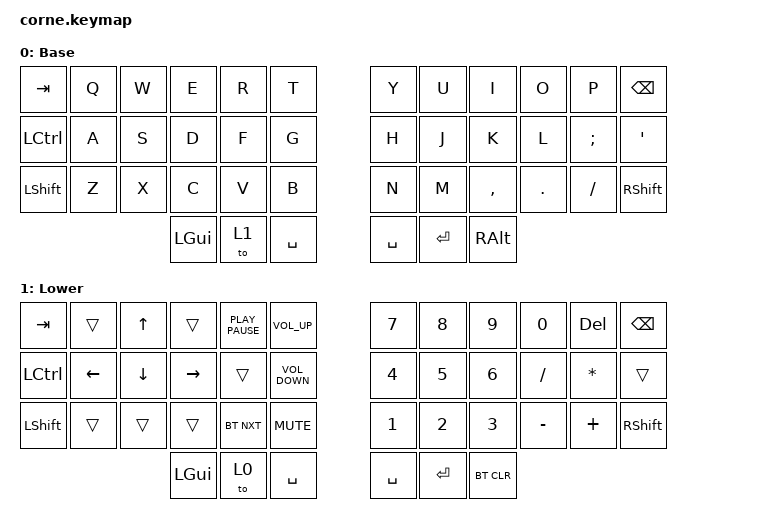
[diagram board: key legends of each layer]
/*
 * Copyright (c) 2020 The ZMK Contributors
 *
 * SPDX-License-Identifier: MIT
 */

#include <behaviors.dtsi>
#include <dt-bindings/zmk/bt.h>
#include <dt-bindings/zmk/keys.h>

/ {
    keymap {
        compatible = "zmk,keymap";

        Base {
            // -----------------------------------------------------------------------------------------
            // |  TAB |  Q  |  W  |  E  |  R  |  T  |   |  Y  |  U   |  I  |  O  |  P  | BKSP |
            // | CTRL |  A  |  S  |  D  |  F  |  G  |   |  H  |  J   |  K  |  L  |  ;  |  '   |
            // | SHFT |  Z  |  X  |  C  |  V  |  B  |   |  N  |  M   |  ,  |  .  |  /  | ESC  |
            //                    | GUI | LWR | SPC |   | ENT | RSE  | ALT |

            display-name = "Base";
            bindings = <
&kp TAB    &kp Q  &kp W  &kp E     &kp R  &kp T        &kp Y      &kp U      &kp I      &kp O    &kp P     &kp BSPC
&kp LCTRL  &kp A  &kp S  &kp D     &kp F  &kp G        &kp H      &kp J      &kp K      &kp L    &kp SEMI  &kp SQT
&kp LSHFT  &kp Z  &kp X  &kp C     &kp V  &kp B        &kp N      &kp M      &kp COMMA  &kp DOT  &kp FSLH  &kp RIGHT_SHIFT
                         &kp LGUI  &to 1  &kp SPACE    &kp SPACE  &kp ENTER  &kp RALT
            >;
        };

        TK-Arrow {
            // -----------------------------------------------------------------------------------------
            // |  TAB |  1  |  2  |  3  |  4  |  5  |   |  6  |  7  |  8  |  9  |  0  | BKSP |
            // | BTCLR| BT1 | BT2 | BT3 | BT4 | BT5 |   | LFT | DWN |  UP | RGT |     |      |
            // | SHFT |     |     |     |     |     |   |     |     |     |     |     |      |
            //                    | GUI |     | SPC |   | ENT |     | ALT |

            display-name = "Lower";
            bindings = <
&kp TAB         &trans          &kp UP_ARROW    &trans           &kp K_PLAY_PAUSE  &kp C_VOLUME_UP      &kp N7        &kp N8        &kp N9        &kp N0     &kp DELETE    &kp BSPC
&kp LCTRL       &kp LEFT_ARROW  &kp DOWN_ARROW  &kp RIGHT_ARROW  &trans            &kp C_VOLUME_DOWN    &kp NUMBER_4  &kp N5        &kp NUMBER_6  &kp SLASH  &kp ASTERISK  &trans
&kp LEFT_SHIFT  &trans          &trans          &trans           &bt BT_NXT        &kp K_MUTE           &kp NUMBER_1  &kp NUMBER_2  &kp NUMBER_3  &kp MINUS  &kp PLUS      &kp RIGHT_SHIFT
                                                &kp LGUI         &to 0             &kp SPACE            &kp SPACE     &kp ENTER     &bt BT_CLR
            >;
        };
    };
};
